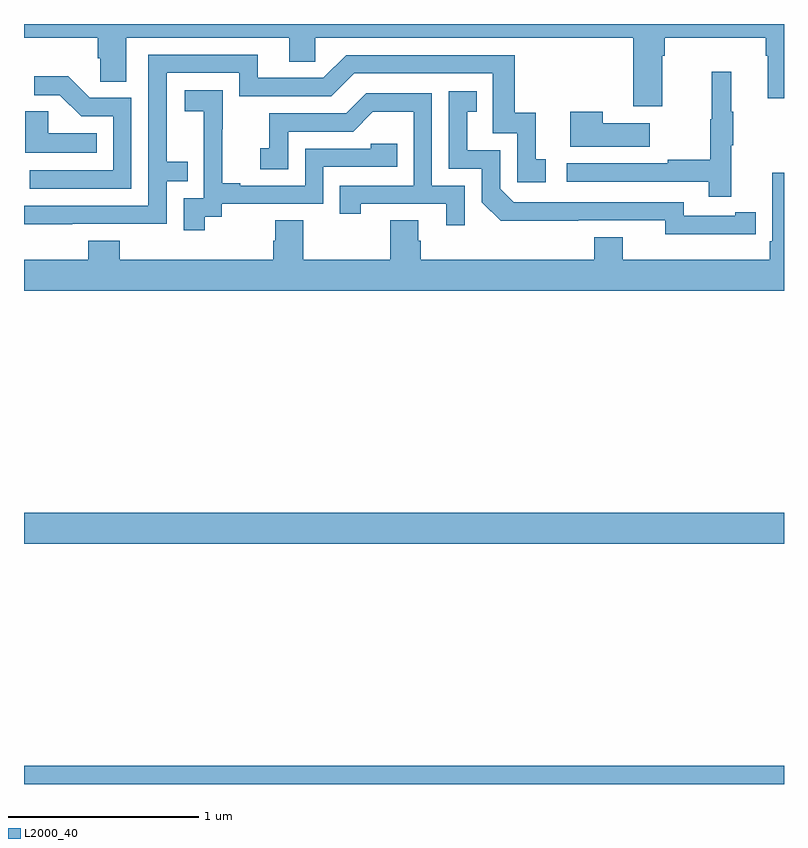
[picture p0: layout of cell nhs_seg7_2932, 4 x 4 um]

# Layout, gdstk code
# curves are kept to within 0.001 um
import gdstk
lib = gdstk.Library(unit=1e-6, precision=1e-09)
def R(c, l, rs):  # rectangles x0, y0, x1, y1
    for r in rs: c.add(gdstk.rectangle(r[:2], r[2:], *l))
def P(c, l, *ps):  # polygons
    for p in ps: c.add(gdstk.Polygon(p, *l))
L2000_40 = (2000, 40)

nhs_seg7_2932 = lib.new_cell('nhs_seg7_2932')
R(nhs_seg7_2932, L2000_40, [(299,1018,303,1018.096), (299,1019.264,303,1019.428)])
P(nhs_seg7_2932, L2000_40, [(302.359,1021.832),(302.372,1021.832),(302.372,1021.928),(302.903,1021.928),(302.903,1021.832),(302.915,1021.832),(302.915,1021.608),(303,1021.608),(303,1022),(299,1022),(299,1021.928),(299.387,1021.928),(299.387,1021.819),(299.4,1021.819),(299.4,1021.696),(299.539,1021.696),(299.539,1021.928),(300.395,1021.928),(300.395,1021.801),(300.534,1021.801),(300.534,1021.928),(302.207,1021.928),(302.207,1021.566),(302.359,1021.566)],
  [(299.255,1020.948),(299.751,1020.948),(299.751,1021.173),(299.861,1021.173),(299.861,1021.274),(299.751,1021.274),(299.751,1021.743),(300.132,1021.743),(300.132,1021.62),(300.618,1021.62),(300.738,1021.74),(301.467,1021.74),(301.467,1021.425),(301.596,1021.425),(301.596,1021.167),(301.747,1021.167),(301.747,1021.287),(301.694,1021.287),(301.694,1021.534),(301.583,1021.534),(301.583,1021.836),(300.696,1021.836),(300.576,1021.716),(300.229,1021.716),(300.229,1021.839),(299.655,1021.839),(299.655,1021.044),(299,1021.044),(299,1020.947)],
  [(302.723,1021.363),(302.734,1021.363),(302.734,1021.537),(302.723,1021.537),(302.723,1021.75),(302.62,1021.75),(302.62,1021.5),(302.613,1021.5),(302.613,1021.286),(302.389,1021.286),(302.389,1021.266),(301.857,1021.266),(301.857,1021.17),(302.605,1021.17),(302.605,1021.092),(302.723,1021.092)],
  [(299.565,1021.611),(299.346,1021.611),(299.233,1021.724),(299.055,1021.724),(299.055,1021.626),(299.189,1021.626),(299.3,1021.515),(299.469,1021.515),(299.469,1021.23),(299.031,1021.23),(299.031,1021.134),(299.565,1021.134)],
  [(299.95,1020.985),(300.042,1020.985),(300.042,1021.053),(300.576,1021.053),(300.576,1021.248),(300.965,1021.248),(300.965,1021.371),(300.825,1021.371),(300.825,1021.344),(300.48,1021.344),(300.48,1021.149),(300.139,1021.149),(300.139,1021.162),(300.044,1021.162),(300.044,1021.445),(300.045,1021.445),(300.045,1021.651),(299.847,1021.651),(299.847,1021.541),(299.945,1021.541),(299.945,1021.313),(299.946,1021.313),(299.946,1021.083),(299.841,1021.083),(299.841,1020.915),(299.95,1020.915)],
  [(302.744,1020.894),(302.852,1020.894),(302.852,1021.01),(302.744,1021.01),(302.744,1020.99),(302.472,1020.99),(302.472,1021.062),(301.578,1021.062),(301.506,1021.134),(301.506,1021.335),(301.333,1021.335),(301.333,1021.539),(301.382,1021.539),(301.382,1021.645),(301.236,1021.645),(301.236,1021.239),(301.41,1021.239),(301.41,1021.062),(301.508,1020.965),(302.376,1020.966),(302.376,1020.893)],
  [(301.32,1021.149),(301.146,1021.149),(301.146,1021.635),(300.8,1021.635),(300.695,1021.53),(300.292,1021.53),(300.292,1021.345),(300.243,1021.345),(300.243,1021.236),(300.39,1021.236),(300.39,1021.434),(300.732,1021.434),(300.836,1021.538),(301.05,1021.538),(301.05,1021.149),(300.661,1021.149),(300.661,1021.002),(300.772,1021.002),(300.772,1021.053),(301.223,1021.053),(301.223,1020.942),(301.32,1020.942)],
  [(299.384,1021.426),(299.127,1021.426),(299.127,1021.541),(299.006,1021.541),(299.006,1021.322),(299.384,1021.322)],
  [(302.293,1021.477),(302.045,1021.477),(302.045,1021.537),(301.874,1021.537),(301.874,1021.355),(302.293,1021.355)],
  [(303,1021.216),(302.937,1021.216),(302.937,1020.856),(302.924,1020.856),(302.924,1020.76),(302.152,1020.76),(302.152,1020.877),(302,1020.877),(302,1020.76),(301.088,1020.76),(301.088,1020.858),(301.075,1020.858),(301.075,1020.968),(300.928,1020.968),(300.928,1020.76),(300.471,1020.76),(300.471,1020.968),(300.323,1020.968),(300.323,1020.858),(300.311,1020.858),(300.311,1020.76),(299.504,1020.76),(299.504,1020.859),(299.339,1020.859),(299.339,1020.76),(299,1020.76),(299,1020.596),(303,1020.596)])

lib.write_gds('nhs_seg7_2932.gds')
